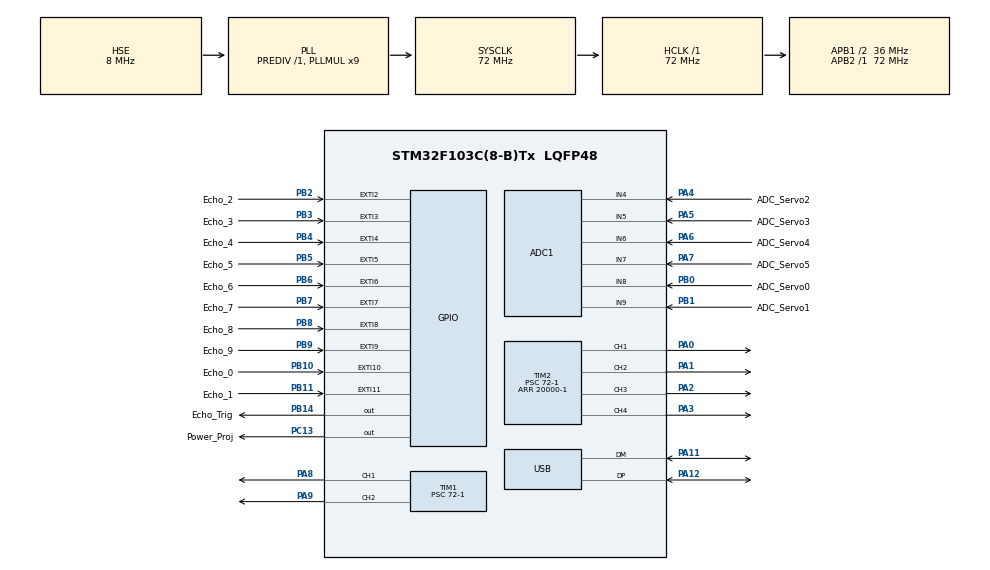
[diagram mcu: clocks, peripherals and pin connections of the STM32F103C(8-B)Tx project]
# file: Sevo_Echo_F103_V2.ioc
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# 用途：CubeMX 定时器与外设配置；使用方法：重新生成代码时保留六路 PWM 初始脉宽 1500 us。
ADC1.Channel-0\#ChannelRegularConversion=ADC_CHANNEL_8
ADC1.Channel-1\#ChannelRegularConversion=ADC_CHANNEL_9
ADC1.Channel-2\#ChannelRegularConversion=ADC_CHANNEL_4
ADC1.Channel-3\#ChannelRegularConversion=ADC_CHANNEL_5
ADC1.Channel-4\#ChannelRegularConversion=ADC_CHANNEL_6
ADC1.Channel-5\#ChannelRegularConversion=ADC_CHANNEL_7
ADC1.Channel-6\#ChannelRegularConversion=ADC_CHANNEL_VREFINT
ADC1.NbrOfConversion=7
ADC1.NbrOfConversionFlag=1
ADC1.Rank-0\#ChannelRegularConversion=1
ADC1.Rank-1\#ChannelRegularConversion=2
ADC1.Rank-2\#ChannelRegularConversion=3
ADC1.Rank-3\#ChannelRegularConversion=4
ADC1.Rank-4\#ChannelRegularConversion=5
ADC1.Rank-5\#ChannelRegularConversion=6
ADC1.Rank-6\#ChannelRegularConversion=7
ADC1.SamplingTime-0\#ChannelRegularConversion=ADC_SAMPLETIME_71CYCLES_5
ADC1.SamplingTime-1\#ChannelRegularConversion=ADC_SAMPLETIME_71CYCLES_5
ADC1.SamplingTime-2\#ChannelRegularConversion=ADC_SAMPLETIME_71CYCLES_5
ADC1.SamplingTime-3\#ChannelRegularConversion=ADC_SAMPLETIME_71CYCLES_5
ADC1.SamplingTime-4\#ChannelRegularConversion=ADC_SAMPLETIME_71CYCLES_5
ADC1.SamplingTime-5\#ChannelRegularConversion=ADC_SAMPLETIME_71CYCLES_5
ADC1.SamplingTime-6\#ChannelRegularConversion=ADC_SAMPLETIME_239CYCLES_5
ADC1.master=1
Dma.ADC1.0.Direction=DMA_PERIPH_TO_MEMORY
Dma.ADC1.0.Instance=DMA1_Channel1
Dma.ADC1.0.MemDataAlignment=DMA_MDATAALIGN_HALFWORD
Dma.ADC1.0.MemInc=DMA_MINC_ENABLE
Dma.ADC1.0.Mode=DMA_NORMAL
Dma.ADC1.0.PeriphDataAlignment=DMA_PDATAALIGN_HALFWORD
Dma.ADC1.0.PeriphInc=DMA_PINC_DISABLE
Dma.ADC1.0.Priority=DMA_PRIORITY_LOW
Dma.Request0=ADC1
Mcu.Family=STM32F1
Mcu.Name=STM32F103C(8-B)Tx
Mcu.Package=LQFP48
NVIC.ADC1_2_IRQn=true\:0\:0\:false\:false\:true\:true\:true\:true
NVIC.DMA1_Channel1_IRQn=true\:0\:0\:false\:false\:true\:false\:true\:true
NVIC.EXTI15_10_IRQn=true\:0\:0\:false\:false\:true\:true\:true\:true
NVIC.EXTI2_IRQn=true\:0\:0\:false\:false\:true\:true\:true\:true
NVIC.EXTI3_IRQn=true\:0\:0\:false\:false\:true\:true\:true\:true
NVIC.EXTI4_IRQn=true\:0\:0\:false\:false\:true\:true\:true\:true
NVIC.EXTI9_5_IRQn=true\:0\:0\:false\:false\:true\:true\:true\:true
NVIC.PriorityGroup=NVIC_PRIORITYGROUP_4
NVIC.TIM3_IRQn=true\:0\:0\:false\:false\:true\:true\:true\:true
NVIC.TIM4_IRQn=true\:15\:0\:false\:false\:true\:false\:true\:true
NVIC.TimeBase=TIM4_IRQn
NVIC.TimeBaseIP=TIM4
NVIC.USB_LP_CAN1_RX0_IRQn=true\:0\:0\:false\:false\:true\:false\:true\:true
PA0-WKUP.Signal=S_TIM2_CH1_ETR
PA1.Signal=S_TIM2_CH2
PA11.Mode=Device
PA11.Signal=USB_DM
PA12.Mode=Device
PA12.Signal=USB_DP
PA13.Mode=Serial_Wire
PA13.Signal=SYS_JTMS-SWDIO
PA14.Mode=Serial_Wire
PA14.Signal=SYS_JTCK-SWCLK
PA2.Signal=S_TIM2_CH3
PA3.Signal=S_TIM2_CH4
PA4.GPIO_Label=ADC_Servo2
PA4.Signal=ADCx_IN4
PA5.GPIO_Label=ADC_Servo3
PA5.Signal=ADCx_IN5
PA6.GPIO_Label=ADC_Servo4
PA6.Signal=ADCx_IN6
PA7.GPIO_Label=ADC_Servo5
PA7.Signal=ADCx_IN7
PA8.Signal=S_TIM1_CH1
PA9.Signal=S_TIM1_CH2
PB0.GPIO_Label=ADC_Servo0
PB0.Signal=ADCx_IN8
PB1.GPIO_Label=ADC_Servo1
PB1.Signal=ADCx_IN9
PB10.GPIO_Label=Echo_0
PB10.GPIO_ModeDefaultEXTI=GPIO_MODE_IT_RISING_FALLING
PB10.GPIO_PuPd=GPIO_PULLDOWN
PB10.Signal=GPXTI10
PB11.GPIO_Label=Echo_1
PB11.GPIO_ModeDefaultEXTI=GPIO_MODE_IT_RISING_FALLING
PB11.GPIO_PuPd=GPIO_PULLDOWN
PB11.Signal=GPXTI11
PB14.GPIO_Label=Echo_Trig
PB14.GPIO_PuPd=GPIO_PULLDOWN
PB14.GPIO_Speed=GPIO_SPEED_FREQ_MEDIUM
PB14.Signal=GPIO_Output
PB2.GPIO_Label=Echo_2
PB2.GPIO_ModeDefaultEXTI=GPIO_MODE_IT_RISING_FALLING
PB2.GPIO_PuPd=GPIO_PULLDOWN
PB2.Signal=GPXTI2
PB3.GPIO_Label=Echo_3
PB3.GPIO_ModeDefaultEXTI=GPIO_MODE_IT_RISING_FALLING
PB3.GPIO_PuPd=GPIO_PULLDOWN
PB3.Signal=GPXTI3
PB4.GPIO_Label=Echo_4
PB4.GPIO_ModeDefaultEXTI=GPIO_MODE_IT_RISING_FALLING
PB4.GPIO_PuPd=GPIO_PULLDOWN
PB4.Signal=GPXTI4
PB5.GPIO_Label=Echo_5
PB5.GPIO_ModeDefaultEXTI=GPIO_MODE_IT_RISING_FALLING
PB5.GPIO_PuPd=GPIO_PULLDOWN
PB5.Signal=GPXTI5
PB6.GPIO_Label=Echo_6
PB6.GPIO_ModeDefaultEXTI=GPIO_MODE_IT_RISING_FALLING
PB6.GPIO_PuPd=GPIO_PULLDOWN
PB6.Signal=GPXTI6
PB7.GPIO_Label=Echo_7
PB7.GPIO_ModeDefaultEXTI=GPIO_MODE_IT_RISING_FALLING
PB7.GPIO_PuPd=GPIO_PULLDOWN
PB7.Signal=GPXTI7
PB8.GPIO_Label=Echo_8
PB8.GPIO_ModeDefaultEXTI=GPIO_MODE_IT_RISING_FALLING
PB8.GPIO_PuPd=GPIO_PULLDOWN
PB8.Signal=GPXTI8
PB9.GPIO_Label=Echo_9
PB9.GPIO_ModeDefaultEXTI=GPIO_MODE_IT_RISING_FALLING
PB9.GPIO_PuPd=GPIO_PULLDOWN
PB9.Signal=GPXTI9
PC13-TAMPER-RTC.GPIO_Label=Power_Proj
PC13-TAMPER-RTC.Signal=GPIO_Output
PC14-OSC32_IN.Mode=LSE-External-Oscillator
PC14-OSC32_IN.Signal=RCC_OSC32_IN
PC15-OSC32_OUT.Mode=LSE-External-Oscillator
PC15-OSC32_OUT.Signal=RCC_OSC32_OUT
PD0-OSC_IN.Mode=HSE-External-Oscillator
PD0-OSC_IN.Signal=RCC_OSC_IN
PD1-OSC_OUT.Mode=HSE-External-Oscillator
PD1-OSC_OUT.Signal=RCC_OSC_OUT
ProjectManager.HeapSize=0x200
ProjectManager.StackSize=0x400
ProjectManager.TargetToolchain=CMake
RCC.ADCPresc=RCC_ADCPCLK2_DIV6
RCC.AHBFreq_Value=72000000
RCC.APB1CLKDivider=RCC_HCLK_DIV2
RCC.APB1Freq_Value=36000000
RCC.APB1TimFreq_Value=72000000
RCC.APB2Freq_Value=72000000
RCC.APB2TimFreq_Value=72000000
RCC.HCLKFreq_Value=72000000
RCC.PLLMUL=RCC_PLL_MUL9
RCC.PLLSourceVirtual=RCC_PLLSOURCE_HSE
RCC.SYSCLKFreq_VALUE=72000000
RCC.SYSCLKSource=RCC_SYSCLKSOURCE_PLLCLK
RCC.USBFreq_Value=48000000
RCC.USBPrescaler=RCC_USBCLKSOURCE_PLL_DIV1_5
SH.ADCx_IN4.0=ADC1_IN4,IN4
SH.ADCx_IN5.0=ADC1_IN5,IN5
SH.ADCx_IN6.0=ADC1_IN6,IN6
SH.ADCx_IN7.0=ADC1_IN7,IN7
SH.ADCx_IN8.0=ADC1_IN8,IN8
SH.ADCx_IN9.0=ADC1_IN9,IN9
SH.S_TIM1_CH1.0=TIM1_CH1,PWM Generation1 CH1
SH.S_TIM1_CH2.0=TIM1_CH2,PWM Generation2 CH2
SH.S_TIM2_CH1_ETR.0=TIM2_CH1,PWM Generation1 CH1
SH.S_TIM2_CH2.0=TIM2_CH2,PWM Generation2 CH2
SH.S_TIM2_CH3.0=TIM2_CH3,PWM Generation3 CH3
SH.S_TIM2_CH4.0=TIM2_CH4,PWM Generation4 CH4
TIM1.Channel-PWM\ Generation1\ CH1=TIM_CHANNEL_1
TIM1.Channel-PWM\ Generation2\ CH2=TIM_CHANNEL_2
TIM1.Period=20000-1
TIM1.Prescaler=72-1
TIM1.Pulse-PWM\ Generation1\ CH1=1500
TIM1.Pulse-PWM\ Generation2\ CH2=1500
TIM2.Channel-PWM\ Generation1\ CH1=TIM_CHANNEL_1
TIM2.Channel-PWM\ Generation2\ CH2=TIM_CHANNEL_2
TIM2.Channel-PWM\ Generation3\ CH3=TIM_CHANNEL_3
TIM2.Channel-PWM\ Generation4\ CH4=TIM_CHANNEL_4
TIM2.Period=20000-1
TIM2.Prescaler=72-1
TIM2.Pulse-PWM\ Generation1\ CH1=1500
TIM2.Pulse-PWM\ Generation2\ CH2=1500
TIM2.Pulse-PWM\ Generation3\ CH3=1500
TIM2.Pulse-PWM\ Generation4\ CH4=1500
TIM3.Prescaler=72-1
USB_DEVICE.CLASS_NAME_FS=CDC
USB_DEVICE.PRODUCT_STRING_CDC_FS=Servo Echo Controller V3
USB_DEVICE.VirtualMode=Cdc
USB_DEVICE.VirtualModeFS=Cdc_FS
VP_ADC1_Vref_Input.Mode=IN-Vrefint
VP_SYS_VS_tim4.Mode=TIM4
VP_TIM1_VS_ClockSourceINT.Mode=Internal
VP_TIM2_VS_ClockSourceINT.Mode=Internal
VP_TIM3_VS_ClockSourceINT.Mode=Internal
VP_USB_DEVICE_VS_USB_DEVICE_CDC_FS.Mode=CDC_FS
board=custom

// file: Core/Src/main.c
/* USER CODE BEGIN Header */
/**
  ******************************************************************************
  * @file           : main.c
  * @brief          : SE2 板初始化、USB 命令循环和超声波微秒时基。
  * @note           : 上电初始化后运行主循环；TIM3 溢出中断累计 get_us() 的回绕次数。
  * @note           : 六路 PWM 定时器初始化入口；使用时先初始化定时器，再调用 init_servo()。
  ******************************************************************************
  * @attention
  *
  * Copyright (c) 2026 STMicroelectronics.
  * All rights reserved.
  *
  * This software is licensed under terms that can be found in the LICENSE file
  * in the root directory of this software component.
  * If no LICENSE file comes with this software, it is provided AS-IS.
  *
  ******************************************************************************
  */
/* USER CODE END Header */
#include "main.h"
#include "usb_device.h"

/* USER CODE BEGIN Includes */
#include "adc.h"
#include "gpio_sr04p.h"
#include "tim_servo.h"
#include "command.h"
/* USER CODE END Includes */

ADC_HandleTypeDef hadc1;
DMA_HandleTypeDef hdma_adc1;

TIM_HandleTypeDef htim1;
TIM_HandleTypeDef htim2;
TIM_HandleTypeDef htim3;

/* USER CODE BEGIN PV */
static volatile uint32_t us_overflow_count = 0;
__IO char _cmd_buffer[1024];                      //缓存USB命令
__IO int16_t _cmd_buffer_len = 0;
__IO int16_t _usb_connected = 0;
/* USER CODE END PV */

void SystemClock_Config(void);
static void MX_GPIO_Init(void);
static void MX_DMA_Init(void);
static void MX_ADC1_Init(void);
static void MX_TIM1_Init(void);
static void MX_TIM2_Init(void);
static void MX_TIM3_Init(void);
/* USER CODE BEGIN PFP */
void process_usb();
uint8_t CDC_Transmit_FS(uint8_t* Buf, uint16_t Len);
/* USER CODE END PFP */

/* USER CODE BEGIN 0 */
uint32_t millis() { return HAL_GetTick(); }

// 获取当前微秒时间
uint64_t get_us(void) {
  uint32_t count;
  uint32_t overflow;

  // 保留调用者中断状态，原子读取计数器和溢出次数。
  uint32_t primask = __get_PRIMASK();
  __disable_irq();
  count = htim3.Instance->CNT;
  overflow = us_overflow_count;

  // 检查是否在读取过程中发生了溢出但未处理
  if (__HAL_TIM_GET_FLAG(&htim3, TIM_FLAG_UPDATE) != RESET) {
    // 手动处理这次溢出
    count = htim3.Instance->CNT;
    overflow++;
    // 本次已代替 TIM3 中断处理溢出，必须持久化，避免下次时间倒退。
    us_overflow_count = overflow;
    __HAL_TIM_CLEAR_FLAG(&htim3, TIM_FLAG_UPDATE);
  }
  __set_PRIMASK(primask);

  // 计算总微秒数：溢出次数*65536 + 当前计数值
  uint64_t us = (uint64_t)overflow * 65536;
  us += count;
  return us;
}

void timer_us_overflow(void) {
  // 溢出计数加1
  us_overflow_count++;
}

//GPIO中断回调函数是多个引脚共用的，因此要根据GPIO引脚的不同来分别调用不同的回调函数
void HAL_GPIO_EXTI_Callback(uint16_t GPIO_Pin) {
    if (process_echo_int(GPIO_Pin) == 0)
      return;
}

//ADC转换完成中断
void HAL_ADC_ConvCpltCallback(ADC_HandleTypeDef *hadc) {
	adc_conv_callback(hadc);
}

//模拟USB插拔
void unplug_plug_usb() {
  __HAL_RCC_GPIOA_CLK_ENABLE();
  GPIO_InitTypeDef GPIO_InitStruct = {0};
  /*Configure GPIO pin Output Level */
  HAL_GPIO_WritePin(GPIOA, GPIO_PIN_12, GPIO_PIN_RESET);
  /*Configure GPIO pin : PA12 */
  GPIO_InitStruct.Pin = GPIO_PIN_12;
  GPIO_InitStruct.Mode = GPIO_MODE_OUTPUT_PP;
  GPIO_InitStruct.Pull = GPIO_PULLDOWN;
  GPIO_InitStruct.Speed = GPIO_SPEED_FREQ_LOW;
  HAL_GPIO_Init(GPIOA, &GPIO_InitStruct);

  HAL_GPIO_WritePin(GPIOA, GPIO_PIN_12,
  GPIO_PIN_RESET);
  HAL_Delay(65);
  //先把PA12拉低再拉高，利用D+模拟USB的拔插动作
  HAL_GPIO_WritePin(GPIOA,GPIO_PIN_12,GPIO_PIN_SET);
  HAL_Delay(65);
}

char * float_to_string(float value, char* buffer, int16_t precision) {
  int32_t fixed_value;
  int32_t float_value;
  int8_t negative = 0;

  // 处理负数
  if(value < 0) {
    negative = 1;
    value = -value;
  }

  switch(precision) {
    case 1:
      fixed_value = (int32_t)(value);
      // 修正浮点运算精度问题
      float_value = (int32_t)((value - fixed_value) * 10.0f + 0.5f);
      if(negative && (fixed_value != 0 || float_value != 0)) {
        sprintf(buffer, "-%d.%d", fixed_value, float_value);
      } else {
        sprintf(buffer, "%d.%d", fixed_value, float_value);
      }
      return buffer;
    case 2:
      fixed_value = (int32_t)(value);
      // 修正浮点运算精度问题
      float_value = (int32_t)((value - fixed_value) * 100.0f + 0.5f);
      if(negative && (fixed_value != 0 || float_value != 0)) {
        sprintf(buffer, "-%d.%02d", fixed_value, float_value);
      } else {
        sprintf(buffer, "%d.%02d", fixed_value, float_value);
      }
      return buffer;
    default:
      fixed_value = (int32_t)(value + 0.5f);
      float_value = 0;
      if(negative && fixed_value != 0) {
        sprintf(buffer, "-%d", fixed_value);
      } else {
        sprintf(buffer, "%d", fixed_value);
      }
      return buffer;
  }
}
/* USER CODE END 0 */

int main(void)
{

  /* USER CODE BEGIN 1 */
  uint32_t last_ms = 0;
  /* USER CODE END 1 */

  /* MCU Configuration--------------------------------------------------------*/

  /* Reset of all peripherals, Initializes the Flash interface and the Systick. */
  HAL_Init();

  /* Configure the system clock */
  SystemClock_Config();

  /* Initialize all configured peripherals */
  MX_GPIO_Init();
  MX_DMA_Init();
  MX_ADC1_Init();
  MX_TIM1_Init();
  MX_TIM2_Init();
  MX_USB_DEVICE_Init();
  MX_TIM3_Init();
  /* USER CODE BEGIN 2 */
 // 开启微秒计数器
  htim3.Instance->CNT = 0;
  HAL_TIM_Base_Start_IT(&htim3);
  // ADC初始化
  adc_init(&hadc1);
  // 舵机初始化
  init_servo();
  // 超声波初始化
  init_sr04p();
  // 等待ADC初始化完成
  for(;;)
	  if(adc_is_ready())
		  break;
	  else
		  HAL_Delay(10);
  //更新计时器
  last_ms = millis();
  /* USER CODE END 2 */

  /* Infinite loop */
  while (1)
  {

    /* USER CODE BEGIN 3 */
    //处理USB命令
    process_usb();
    //每隔20ms处理一次舵机伺服
    uint32_t now_ms = millis();
    if(now_ms < last_ms)
      last_ms = now_ms;   //计时器回绕
    if(now_ms - last_ms >= 20) {
      process_servo(now_ms);
      last_ms = now_ms;
    }
  }
  /* USER CODE END 3 */
}

void SystemClock_Config(void)
{
  RCC_OscInitTypeDef RCC_OscInitStruct = {0};
  RCC_ClkInitTypeDef RCC_ClkInitStruct = {0};
  RCC_PeriphCLKInitTypeDef PeriphClkInit = {0};

  /** Initializes the RCC Oscillators according to the specified parameters
  * in the RCC_OscInitTypeDef structure.
  */
  RCC_OscInitStruct.OscillatorType = RCC_OSCILLATORTYPE_HSE;
  RCC_OscInitStruct.HSEState = RCC_HSE_ON;
  RCC_OscInitStruct.HSEPredivValue = RCC_HSE_PREDIV_DIV1;
  RCC_OscInitStruct.HSIState = RCC_HSI_ON;
  RCC_OscInitStruct.PLL.PLLState = RCC_PLL_ON;
  RCC_OscInitStruct.PLL.PLLSource = RCC_PLLSOURCE_HSE;
  RCC_OscInitStruct.PLL.PLLMUL = RCC_PLL_MUL9;
  if (HAL_RCC_OscConfig(&RCC_OscInitStruct) != HAL_OK)
  {
    Error_Handler();
  }

  /** Initializes the CPU, AHB and APB buses clocks
  */
  RCC_ClkInitStruct.ClockType = RCC_CLOCKTYPE_HCLK|RCC_CLOCKTYPE_SYSCLK
                              |RCC_CLOCKTYPE_PCLK1|RCC_CLOCKTYPE_PCLK2;
  RCC_ClkInitStruct.SYSCLKSource = RCC_SYSCLKSOURCE_PLLCLK;
  RCC_ClkInitStruct.AHBCLKDivider = RCC_SYSCLK_DIV1;
  RCC_ClkInitStruct.APB1CLKDivider = RCC_HCLK_DIV2;
  RCC_ClkInitStruct.APB2CLKDivider = RCC_HCLK_DIV1;

  if (HAL_RCC_ClockConfig(&RCC_ClkInitStruct, FLASH_LATENCY_2) != HAL_OK)
  {
    Error_Handler();
  }
  PeriphClkInit.PeriphClockSelection = RCC_PERIPHCLK_ADC|RCC_PERIPHCLK_USB;
  PeriphClkInit.AdcClockSelection = RCC_ADCPCLK2_DIV6;
  PeriphClkInit.UsbClockSelection = RCC_USBCLKSOURCE_PLL_DIV1_5;
  if (HAL_RCCEx_PeriphCLKConfig(&PeriphClkInit) != HAL_OK)
  {
    Error_Handler();
  }
}

static void MX_ADC1_Init(void)
{

  ADC_ChannelConfTypeDef sConfig = {0};

  /** Common config
  */
  hadc1.Instance = ADC1;
  hadc1.Init.ScanConvMode = ADC_SCAN_ENABLE;
  hadc1.Init.ContinuousConvMode = DISABLE;
  hadc1.Init.DiscontinuousConvMode = DISABLE;
  hadc1.Init.ExternalTrigConv = ADC_SOFTWARE_START;
  hadc1.Init.DataAlign = ADC_DATAALIGN_RIGHT;
  hadc1.Init.NbrOfConversion = 7;
  if (HAL_ADC_Init(&hadc1) != HAL_OK)
  {
    Error_Handler();
  }

  /** Configure Regular Channel
  */
  sConfig.Channel = ADC_CHANNEL_8;
  sConfig.Rank = ADC_REGULAR_RANK_1;
  sConfig.SamplingTime = ADC_SAMPLETIME_71CYCLES_5;
  if (HAL_ADC_ConfigChannel(&hadc1, &sConfig) != HAL_OK)
  {
    Error_Handler();
  }

  /** Configure Regular Channel
  */
  sConfig.Channel = ADC_CHANNEL_9;
  sConfig.Rank = ADC_REGULAR_RANK_2;
  if (HAL_ADC_ConfigChannel(&hadc1, &sConfig) != HAL_OK)
  {
    Error_Handler();
  }

  /** Configure Regular Channel
  */
  sConfig.Channel = ADC_CHANNEL_4;
  sConfig.Rank = ADC_REGULAR_RANK_3;
  if (HAL_ADC_ConfigChannel(&hadc1, &sConfig) != HAL_OK)
  {
    Error_Handler();
  }

  /** Configure Regular Channel
  */
  sConfig.Channel = ADC_CHANNEL_5;
  sConfig.Rank = ADC_REGULAR_RANK_4;
  if (HAL_ADC_ConfigChannel(&hadc1, &sConfig) != HAL_OK)
  {
    Error_Handler();
  }

  /** Configure Regular Channel
  */
  sConfig.Channel = ADC_CHANNEL_6;
  sConfig.Rank = ADC_REGULAR_RANK_5;
  if (HAL_ADC_ConfigChannel(&hadc1, &sConfig) != HAL_OK)
  {
    Error_Handler();
  }

  /** Configure Regular Channel
  */
  sConfig.Channel = ADC_CHANNEL_7;
  sConfig.Rank = ADC_REGULAR_RANK_6;
  if (HAL_ADC_ConfigChannel(&hadc1, &sConfig) != HAL_OK)
  {
    Error_Handler();
  }

  /** Configure Regular Channel
  */
  sConfig.Channel = ADC_CHANNEL_VREFINT;
  sConfig.Rank = ADC_REGULAR_RANK_7;
  sConfig.SamplingTime = ADC_SAMPLETIME_239CYCLES_5;
  if (HAL_ADC_ConfigChannel(&hadc1, &sConfig) != HAL_OK)
  {
    Error_Handler();
  }

}

static void MX_TIM1_Init(void)
{

  TIM_ClockConfigTypeDef sClockSourceConfig = {0};
  TIM_MasterConfigTypeDef sMasterConfig = {0};
  TIM_OC_InitTypeDef sConfigOC = {0};
  TIM_BreakDeadTimeConfigTypeDef sBreakDeadTimeConfig = {0};

  htim1.Instance = TIM1;
  htim1.Init.Prescaler = 72-1;
  htim1.Init.CounterMode = TIM_COUNTERMODE_UP;
  htim1.Init.Period = 20000-1;
  htim1.Init.ClockDivision = TIM_CLOCKDIVISION_DIV1;
  htim1.Init.RepetitionCounter = 0;
  htim1.Init.AutoReloadPreload = TIM_AUTORELOAD_PRELOAD_DISABLE;
  if (HAL_TIM_Base_Init(&htim1) != HAL_OK)
  {
    Error_Handler();
  }
  sClockSourceConfig.ClockSource = TIM_CLOCKSOURCE_INTERNAL;
  if (HAL_TIM_ConfigClockSource(&htim1, &sClockSourceConfig) != HAL_OK)
  {
    Error_Handler();
  }
  if (HAL_TIM_PWM_Init(&htim1) != HAL_OK)
  {
    Error_Handler();
  }
  sMasterConfig.MasterOutputTrigger = TIM_TRGO_RESET;
  sMasterConfig.MasterSlaveMode = TIM_MASTERSLAVEMODE_DISABLE;
  if (HAL_TIMEx_MasterConfigSynchronization(&htim1, &sMasterConfig) != HAL_OK)
  {
    Error_Handler();
  }
  sConfigOC.OCMode = TIM_OCMODE_PWM1;
  sConfigOC.Pulse = 1500;
  sConfigOC.OCPolarity = TIM_OCPOLARITY_HIGH;
  sConfigOC.OCNPolarity = TIM_OCNPOLARITY_HIGH;
  sConfigOC.OCFastMode = TIM_OCFAST_DISABLE;
  sConfigOC.OCIdleState = TIM_OCIDLESTATE_RESET;
  sConfigOC.OCNIdleState = TIM_OCNIDLESTATE_RESET;
  if (HAL_TIM_PWM_ConfigChannel(&htim1, &sConfigOC, TIM_CHANNEL_1) != HAL_OK)
  {
    Error_Handler();
  }
  if (HAL_TIM_PWM_ConfigChannel(&htim1, &sConfigOC, TIM_CHANNEL_2) != HAL_OK)
  {
    Error_Handler();
  }
  sBreakDeadTimeConfig.OffStateRunMode = TIM_OSSR_DISABLE;
  sBreakDeadTimeConfig.OffStateIDLEMode = TIM_OSSI_DISABLE;
  sBreakDeadTimeConfig.LockLevel = TIM_LOCKLEVEL_OFF;
  sBreakDeadTimeConfig.DeadTime = 0;
  sBreakDeadTimeConfig.BreakState = TIM_BREAK_DISABLE;
  sBreakDeadTimeConfig.BreakPolarity = TIM_BREAKPOLARITY_HIGH;
  sBreakDeadTimeConfig.AutomaticOutput = TIM_AUTOMATICOUTPUT_DISABLE;
  if (HAL_TIMEx_ConfigBreakDeadTime(&htim1, &sBreakDeadTimeConfig) != HAL_OK)
  {
    Error_Handler();
  }
  HAL_TIM_MspPostInit(&htim1);

}

static void MX_TIM2_Init(void)
{

  TIM_ClockConfigTypeDef sClockSourceConfig = {0};
  TIM_MasterConfigTypeDef sMasterConfig = {0};
  TIM_OC_InitTypeDef sConfigOC = {0};

  htim2.Instance = TIM2;
  htim2.Init.Prescaler = 72-1;
  htim2.Init.CounterMode = TIM_COUNTERMODE_UP;
  htim2.Init.Period = 20000-1;
  htim2.Init.ClockDivision = TIM_CLOCKDIVISION_DIV1;
  htim2.Init.AutoReloadPreload = TIM_AUTORELOAD_PRELOAD_DISABLE;
  if (HAL_TIM_Base_Init(&htim2) != HAL_OK)
  {
    Error_Handler();
  }
  sClockSourceConfig.ClockSource = TIM_CLOCKSOURCE_INTERNAL;
  if (HAL_TIM_ConfigClockSource(&htim2, &sClockSourceConfig) != HAL_OK)
  {
    Error_Handler();
  }
  if (HAL_TIM_PWM_Init(&htim2) != HAL_OK)
  {
    Error_Handler();
  }
  sMasterConfig.MasterOutputTrigger = TIM_TRGO_RESET;
  sMasterConfig.MasterSlaveMode = TIM_MASTERSLAVEMODE_DISABLE;
  if (HAL_TIMEx_MasterConfigSynchronization(&htim2, &sMasterConfig) != HAL_OK)
  {
    Error_Handler();
  }
  sConfigOC.OCMode = TIM_OCMODE_PWM1;
  sConfigOC.Pulse = 1500;
  sConfigOC.OCPolarity = TIM_OCPOLARITY_HIGH;
  sConfigOC.OCFastMode = TIM_OCFAST_DISABLE;
  if (HAL_TIM_PWM_ConfigChannel(&htim2, &sConfigOC, TIM_CHANNEL_1) != HAL_OK)
  {
    Error_Handler();
  }
  if (HAL_TIM_PWM_ConfigChannel(&htim2, &sConfigOC, TIM_CHANNEL_2) != HAL_OK)
  {
    Error_Handler();
  }
  if (HAL_TIM_PWM_ConfigChannel(&htim2, &sConfigOC, TIM_CHANNEL_3) != HAL_OK)
  {
    Error_Handler();
  }
  if (HAL_TIM_PWM_ConfigChannel(&htim2, &sConfigOC, TIM_CHANNEL_4) != HAL_OK)
  {
    Error_Handler();
  }
  HAL_TIM_MspPostInit(&htim2);

}

static void MX_TIM3_Init(void)
{

  TIM_ClockConfigTypeDef sClockSourceConfig = {0};
  TIM_MasterConfigTypeDef sMasterConfig = {0};

  htim3.Instance = TIM3;
  htim3.Init.Prescaler = 72-1;
  htim3.Init.CounterMode = TIM_COUNTERMODE_UP;
  htim3.Init.Period = 65535;
  htim3.Init.ClockDivision = TIM_CLOCKDIVISION_DIV1;
  htim3.Init.AutoReloadPreload = TIM_AUTORELOAD_PRELOAD_DISABLE;
  if (HAL_TIM_Base_Init(&htim3) != HAL_OK)
  {
    Error_Handler();
  }
  sClockSourceConfig.ClockSource = TIM_CLOCKSOURCE_INTERNAL;
  if (HAL_TIM_ConfigClockSource(&htim3, &sClockSourceConfig) != HAL_OK)
  {
    Error_Handler();
  }
  sMasterConfig.MasterOutputTrigger = TIM_TRGO_RESET;
  sMasterConfig.MasterSlaveMode = TIM_MASTERSLAVEMODE_DISABLE;
  if (HAL_TIMEx_MasterConfigSynchronization(&htim3, &sMasterConfig) != HAL_OK)
  {
    Error_Handler();
  }

}

static void MX_DMA_Init(void)
{

  /* DMA controller clock enable */
  __HAL_RCC_DMA1_CLK_ENABLE();

  /* DMA interrupt init */
  /* DMA1_Channel1_IRQn interrupt configuration */
  HAL_NVIC_SetPriority(DMA1_Channel1_IRQn, 0, 0);
  HAL_NVIC_EnableIRQ(DMA1_Channel1_IRQn);

}

static void MX_GPIO_Init(void)
{
  GPIO_InitTypeDef GPIO_InitStruct = {0};

  /* GPIO Ports Clock Enable */
  __HAL_RCC_GPIOC_CLK_ENABLE();
  __HAL_RCC_GPIOD_CLK_ENABLE();
  __HAL_RCC_GPIOA_CLK_ENABLE();
  __HAL_RCC_GPIOB_CLK_ENABLE();

  /*Configure GPIO pin Output Level */
  HAL_GPIO_WritePin(Power_Proj_GPIO_Port, Power_Proj_Pin, GPIO_PIN_RESET);

  /*Configure GPIO pin Output Level */
  HAL_GPIO_WritePin(Echo_Trig_GPIO_Port, Echo_Trig_Pin, GPIO_PIN_RESET);

  /*Configure GPIO pin : Power_Proj_Pin */
  GPIO_InitStruct.Pin = Power_Proj_Pin;
  GPIO_InitStruct.Mode = GPIO_MODE_OUTPUT_PP;
  GPIO_InitStruct.Pull = GPIO_NOPULL;
  GPIO_InitStruct.Speed = GPIO_SPEED_FREQ_LOW;
  HAL_GPIO_Init(Power_Proj_GPIO_Port, &GPIO_InitStruct);

  /*Configure GPIO pins : Echo_2_Pin Echo_0_Pin Echo_1_Pin Echo_3_Pin
                           Echo_4_Pin Echo_5_Pin Echo_6_Pin Echo_7_Pin
                           Echo_8_Pin Echo_9_Pin */
  GPIO_InitStruct.Pin = Echo_2_Pin|Echo_0_Pin|Echo_1_Pin|Echo_3_Pin
                          |Echo_4_Pin|Echo_5_Pin|Echo_6_Pin|Echo_7_Pin
                          |Echo_8_Pin|Echo_9_Pin;
  GPIO_InitStruct.Mode = GPIO_MODE_IT_RISING_FALLING;
  GPIO_InitStruct.Pull = GPIO_PULLDOWN;
  HAL_GPIO_Init(GPIOB, &GPIO_InitStruct);

  /*Configure GPIO pin : Echo_Trig_Pin */
  GPIO_InitStruct.Pin = Echo_Trig_Pin;
  GPIO_InitStruct.Mode = GPIO_MODE_OUTPUT_PP;
  GPIO_InitStruct.Pull = GPIO_PULLDOWN;
  GPIO_InitStruct.Speed = GPIO_SPEED_FREQ_MEDIUM;
  HAL_GPIO_Init(Echo_Trig_GPIO_Port, &GPIO_InitStruct);

  /* EXTI interrupt init*/
  HAL_NVIC_SetPriority(EXTI2_IRQn, 0, 0);
  HAL_NVIC_EnableIRQ(EXTI2_IRQn);

  HAL_NVIC_SetPriority(EXTI3_IRQn, 0, 0);
  HAL_NVIC_EnableIRQ(EXTI3_IRQn);

  HAL_NVIC_SetPriority(EXTI4_IRQn, 0, 0);
  HAL_NVIC_EnableIRQ(EXTI4_IRQn);

  HAL_NVIC_SetPriority(EXTI9_5_IRQn, 0, 0);
  HAL_NVIC_EnableIRQ(EXTI9_5_IRQn);

  HAL_NVIC_SetPriority(EXTI15_10_IRQn, 0, 0);
  HAL_NVIC_EnableIRQ(EXTI15_10_IRQn);

}

/* USER CODE BEGIN 4 */
void usb_send(char *resp) {
    //xSemaphoreTake(_usb_mutex, portMAX_DELAY);
    CDC_Transmit_FS((uint8_t*)resp, strlen(resp));
    //xSemaphoreGive(_usb_mutex);
}

void process_usb() {
    if(_cmd_buffer_len > 0) {
      process_command((char*)_cmd_buffer, _cmd_buffer_len);
      memset((void*)_cmd_buffer, 0, sizeof(_cmd_buffer));
      _cmd_buffer_len = 0;
    }
#ifdef _PRINTF_
    HAL_Delay(1);
    if(_usb_connected && _stdout_rdy) {
      if(CDC_Transmit_FS((uint8_t*)_stdout_buffer, _stdout_ptr) != USBD_BUSY) {
        _stdout_ptr = 0;
        _stdout_rdy = 0;
      }
    }
#endif
}
/* USER CODE END 4 */

void HAL_TIM_PeriodElapsedCallback(TIM_HandleTypeDef *htim)
{
  if (htim->Instance == TIM4)
  {
    HAL_IncTick();
  }
  /* USER CODE BEGIN Callback 1 */
  // TIM3 为 1MHz、16 位计数器；每 65536us 必须累计一次回绕。
  if (htim->Instance == TIM3)
  {
    timer_us_overflow();
  }

  /* USER CODE END Callback 1 */
}

void Error_Handler(void)
{
  __disable_irq();
  while (1)
  {
  }
}
